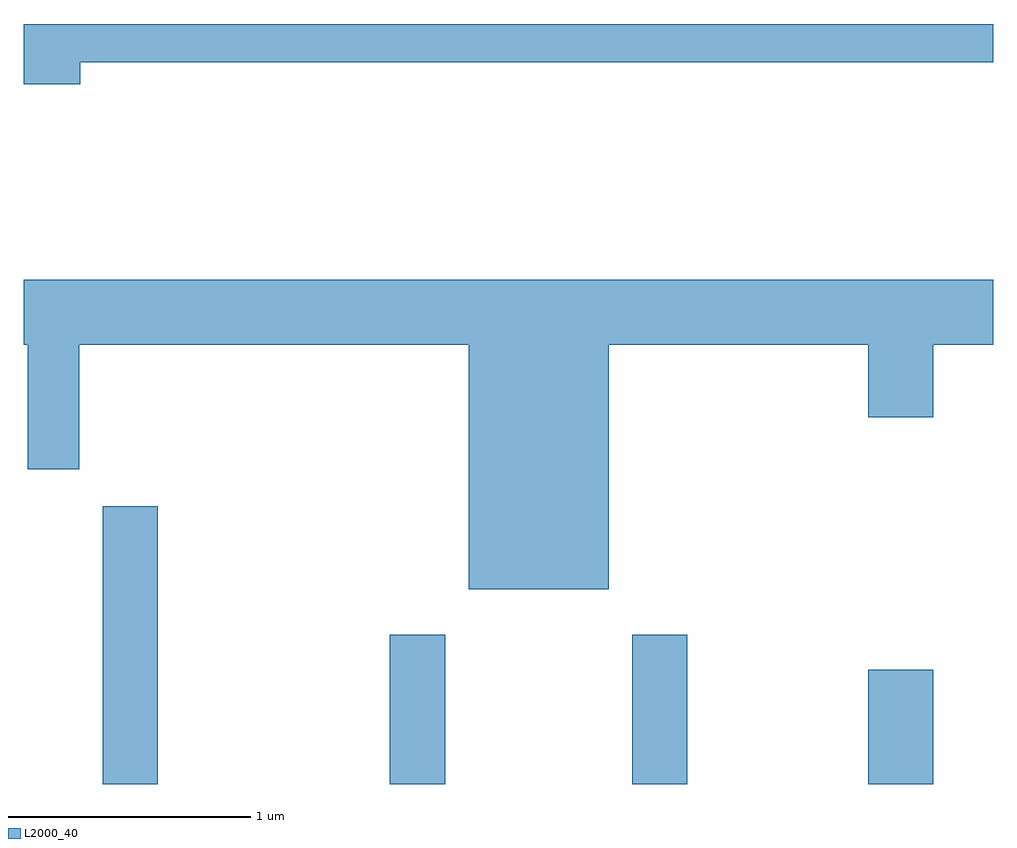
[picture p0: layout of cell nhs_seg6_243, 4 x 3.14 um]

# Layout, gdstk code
import gdstk
lib = gdstk.Library(unit=1e-6, precision=1e-09)
def R(c, l, rs):  # rectangles x0, y0, x1, y1
    for r in rs: c.add(gdstk.rectangle(r[:2], r[2:], *l))
def P(c, l, *ps):  # polygons
    for p in ps: c.add(gdstk.Polygon(p, *l))
L2000_40 = (2000, 40)

nhs_seg6_243 = lib.new_cell('nhs_seg6_243')
R(nhs_seg6_243, L2000_40, [(191.936,1608.162,192.164,1609.309), (193.121,1608.162,193.349,1608.779), (194.121,1608.162,194.349,1608.779), (195.096,1608.162,195.364,1608.634)])
P(nhs_seg6_243, L2000_40, [(191.844,1611.141),(195.611,1611.141),(195.611,1611.299),(191.611,1611.299),(191.611,1611.051),(191.844,1611.051)],
  [(194.024,1609.976),(195.096,1609.976),(195.096,1609.676),(195.364,1609.676),(195.364,1609.976),(195.611,1609.976),(195.611,1610.244),(191.611,1610.244),(191.611,1609.976),(191.626,1609.976),(191.626,1609.461),(191.839,1609.461),(191.839,1609.976),(193.446,1609.976),(193.446,1608.966),(194.024,1608.966)])

lib.write_gds('nhs_seg6_243.gds')
